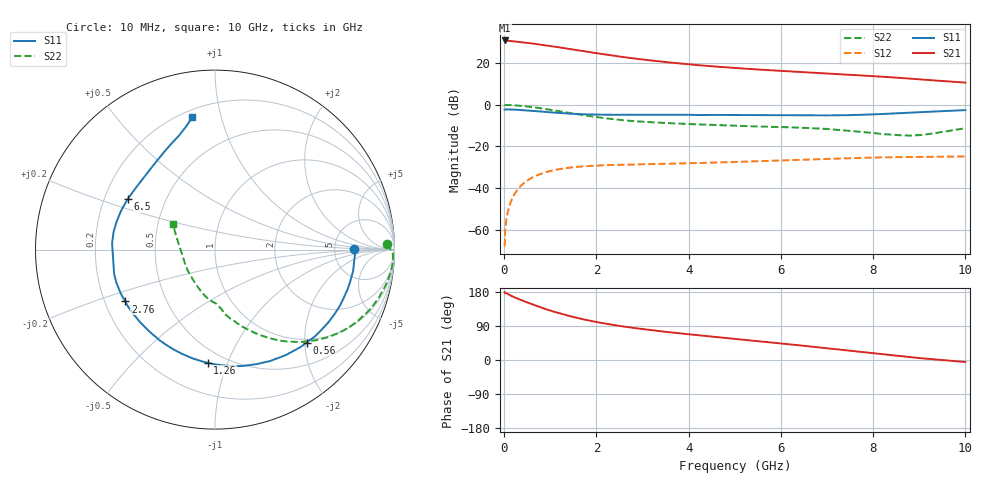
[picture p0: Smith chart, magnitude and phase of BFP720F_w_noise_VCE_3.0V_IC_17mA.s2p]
! Infineon Technologies  Discrete & RF Semiconductors
! BFP720F
! VCE =  3.0 V,  IC =  17 mA
! Common Emitter S-Parameters:  Jan 2016
# GHz  S  MA  R  50
!  f  S11  S21  S12  S22
! GHz  MAG  ANG  MAG  ANG  MAG  ANG  MAG  ANG
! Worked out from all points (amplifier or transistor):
!   233 points, 10 MHz to 10 GHz, reference 50 ohm
!   highest |S21| = 31.0 dB at 10 MHz (marker M1)
!   |S21| within 3 dB of that: start of sweep to 1.1 GHz
!   unconditionally stable (mu >= 1): start of sweep to 13.79 MHz; 5.918 GHz to end of sweep
!   at 200 MHz: K = 0.09, MSG = 37.2 dB, |S12| = -43.9 dB
!   at 1.74 GHz: K = 0.40, MSG = 27.6 dB, |S12| = -29.5 dB
!   at 10 GHz: K = 1.21, MAG = 15.0 dB, |S12| = -24.8 dB
!   lowest NFmin = 0.77 dB at 450 MHz
!   S11 on the Smith chart (normalised r, x): 10 MHz: 7.79, +0.10; 560 MHz: 0.93, -2.04; 1.26 GHz: 0.41, -0.85; 2.76 GHz: 0.29, -0.25; 6.5 GHz: 0.30, +0.25; 10 GHz: 0.24, +0.81
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0.01  0.7725 0.2  35.48 179.0  0.0004 5.9  0.9603 1.9
0.02  0.7819 -1.4  35.21 176.7  0.0009 100.6  0.9901 -1.0
0.05  0.7783 -4.1  35.26 176.0  0.0018 83.2  0.9927 -2.0
0.1  0.7795 -8.3  34.93 172.7  0.0033 85.5  0.9927 -4.6
0.26  0.7652 -21.5  33.29 163.5  0.0082 78.9  0.9694 -12.2
0.42  0.747 -34.5  31.72 155.5  0.013 72.3  0.935 -19.3
0.56  0.7272 -45.4  30.42 149.1  0.0167 66.9  0.8984 -25.1
0.72  0.704 -57.5  28.89 141.9  0.0204 61.2  0.8534 -31.3
0.88  0.6803 -69.1  27.34 135.1  0.0236 56.1  0.8033 -37.0
1.06  0.6562 -81.1  25.52 128.2  0.0267 50.8  0.7464 -42.8
1.26  0.6319 -93.7  23.59 121.1  0.0293 45.7  0.6858 -48.6
1.68  0.5973 -116.1  19.92 108.3  0.0331 37.5  0.5749 -58.7
1.92  0.5863 -126.3  18.09 102.1  0.0344 34.0  0.5242 -63.4
2.2  0.581 -136.0  16.26 95.9  0.0354 30.8  0.4769 -68.2
2.76  0.5773 -150.0  13.32 85.4  0.0366 26.9  0.411 -75.0
3.4  0.579 -159.8  11.02 75.9  0.0381 24.6  0.3717 -80.1
4  0.5785 -166.2  9.453 67.8  0.0394 23.4  0.3458 -82.7
5.1  0.5723 169.0  7.593 54.6  0.0427 22.4  0.3133 -86.6
6.5  0.5623 149.8  6.128 37.4  0.0482 20.1  0.2817 -96.2
6.8  0.5593 144.8  5.86 33.6  0.0494 19.3  0.2705 -99.8
8.4  0.6199 116.1  4.605 12.6  0.0552 13.4  0.1919 -142.0
10  0.7495 99.7  3.439 -5.3  0.0576 8.3  0.2751 148.7
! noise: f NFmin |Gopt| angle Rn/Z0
0.45  0.77  0.21  1  0.52
0.9  0.79  0.11  0  0.14
1.8  0.82  0.08  -6  0.16
2.4  0.83  0.08  -13  0.14
5.5  0.98  0.08  -18  0.1
10  1.15  0.35  -83  0.22
